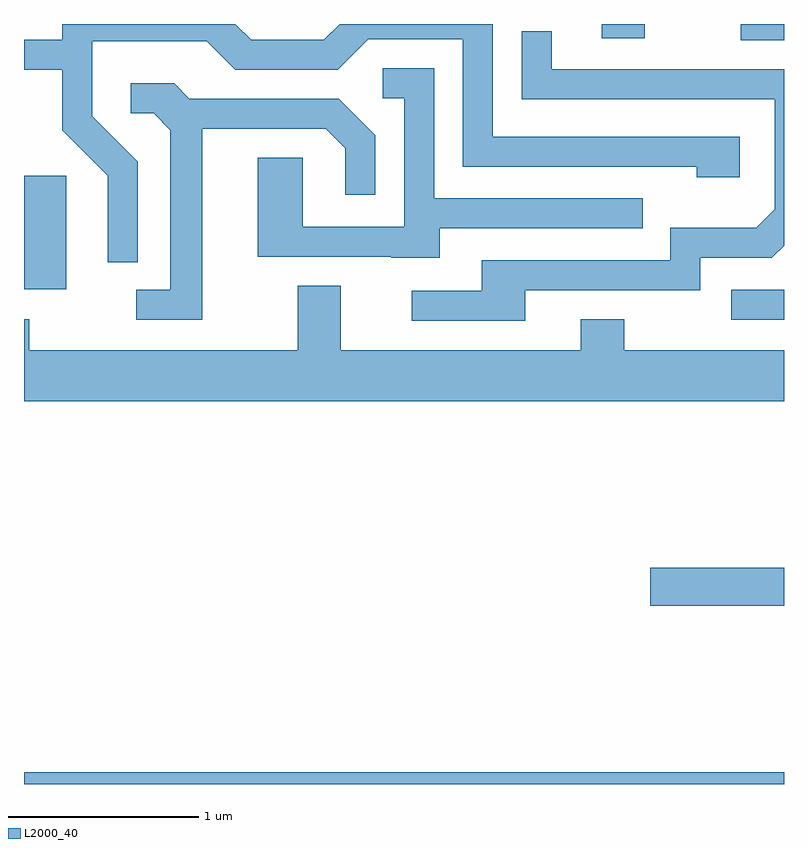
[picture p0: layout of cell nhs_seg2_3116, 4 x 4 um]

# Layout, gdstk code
import gdstk
lib = gdstk.Library(unit=1e-6, precision=1e-09)
def R(c, l, rs):  # rectangles x0, y0, x1, y1
    for r in rs: c.add(gdstk.rectangle(r[:2], r[2:], *l))
def P(c, l, *ps):  # polygons
    for p in ps: c.add(gdstk.Polygon(p, *l))
L2000_40 = (2000, 40)

nhs_seg2_3116 = lib.new_cell('nhs_seg2_3116')
R(nhs_seg2_3116, L2000_40, [(275.611,1101.802,279.611,1101.864), (278.906,1102.741,279.611,1102.939), (279.333,1104.246,279.611,1104.404), (275.611,1104.406,275.834,1105.004), (279.383,1105.716,279.611,1105.802), (278.651,1105.726,278.879,1105.802)])
P(nhs_seg2_3116, L2000_40, [(276.209,1105.077),(275.969,1105.317),(275.969,1105.711),(276.574,1105.711),(276.724,1105.561),(277.262,1105.561),(277.422,1105.721),(277.921,1105.721),(277.921,1105.051),(279.151,1105.051),(279.151,1104.996),(279.379,1104.996),(279.379,1105.209),(278.079,1105.209),(278.079,1105.802),(277.272,1105.802),(277.189,1105.719),(276.807,1105.719),(276.724,1105.802),(275.811,1105.802),(275.811,1105.719),(275.611,1105.719),(275.611,1105.561),(275.811,1105.561),(275.811,1105.244),(276.051,1105.004),(276.051,1104.548),(276.209,1104.548)],
  [(278.249,1104.401),(279.169,1104.401),(279.169,1104.571),(279.547,1104.571),(279.611,1104.635),(279.611,1105.564),(278.389,1105.564),(278.389,1105.763),(278.231,1105.763),(278.231,1105.406),(279.561,1105.406),(279.561,1104.827),(279.464,1104.729),(279.011,1104.729),(279.011,1104.559),(278.021,1104.559),(278.021,1104.399),(277.653,1104.399),(277.653,1104.241),(278.249,1104.241)],
  [(277.799,1104.726),(278.868,1104.726),(278.868,1104.884),(277.769,1104.884),(277.769,1105.569),(277.498,1105.569),(277.498,1105.411),(277.611,1105.411),(277.611,1104.734),(277.079,1104.734),(277.079,1105.099),(276.841,1105.099),(276.841,1104.576),(277.545,1104.576),(277.545,1104.571),(277.799,1104.571)],
  [(276.549,1105.251),(277.199,1105.251),(277.301,1105.149),(277.301,1104.903),(277.459,1104.903),(277.459,1105.217),(277.267,1105.409),(276.482,1105.409),(276.402,1105.489),(276.173,1105.489),(276.173,1105.331),(276.294,1105.331),(276.381,1105.244),(276.381,1104.404),(276.203,1104.404),(276.203,1104.246),(276.549,1104.246)],
  [(279.611,1104.084),(278.769,1104.084),(278.769,1104.249),(278.541,1104.249),(278.541,1104.084),(277.279,1104.084),(277.279,1104.424),(277.051,1104.424),(277.051,1104.084),(275.639,1104.084),(275.639,1104.249),(275.611,1104.249),(275.611,1103.816),(279.611,1103.816)])

lib.write_gds('nhs_seg2_3116.gds')
